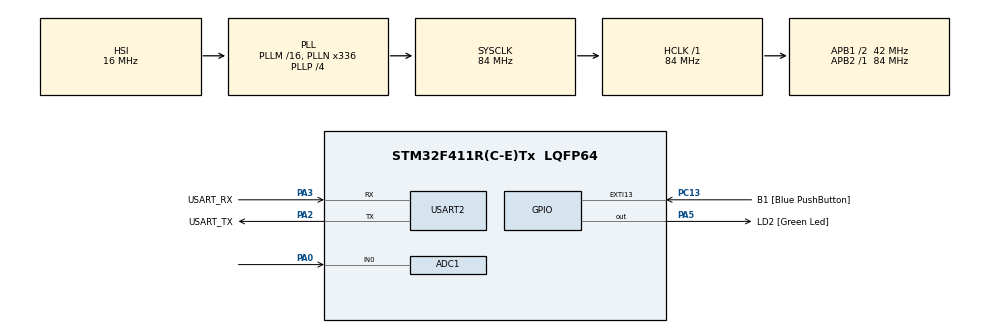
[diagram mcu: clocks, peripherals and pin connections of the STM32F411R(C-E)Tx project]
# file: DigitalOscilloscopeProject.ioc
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ADC1.Channel-0\#ChannelRegularConversion=ADC_CHANNEL_0
ADC1.ExternalTrigConv=ADC_EXTERNALTRIGCONV_T2_TRGO
ADC1.NbrOfConversionFlag=1
ADC1.Rank-0\#ChannelRegularConversion=1
ADC1.SamplingTime-0\#ChannelRegularConversion=ADC_SAMPLETIME_480CYCLES
ADC1.ScanConvMode=DISABLE
ADC1.master=1
Dma.ADC1.0.Direction=DMA_PERIPH_TO_MEMORY
Dma.ADC1.0.FIFOMode=DMA_FIFOMODE_DISABLE
Dma.ADC1.0.Instance=DMA2_Stream0
Dma.ADC1.0.MemDataAlignment=DMA_MDATAALIGN_HALFWORD
Dma.ADC1.0.MemInc=DMA_MINC_ENABLE
Dma.ADC1.0.Mode=DMA_CIRCULAR
Dma.ADC1.0.PeriphDataAlignment=DMA_PDATAALIGN_HALFWORD
Dma.ADC1.0.PeriphInc=DMA_PINC_DISABLE
Dma.ADC1.0.Priority=DMA_PRIORITY_HIGH
Dma.Request0=ADC1
Mcu.Family=STM32F4
Mcu.Name=STM32F411R(C-E)Tx
Mcu.Package=LQFP64
NVIC.ADC_IRQn=true\:0\:0\:false\:false\:true\:true\:true\:true
NVIC.DMA2_Stream0_IRQn=true\:0\:0\:false\:false\:true\:false\:true\:true
NVIC.PriorityGroup=NVIC_PRIORITYGROUP_0
NVIC.TIM2_IRQn=true\:0\:0\:false\:false\:true\:true\:true\:true
PA0-WKUP.Signal=ADCx_IN0
PA13.GPIO_Label=TMS
PA13.Mode=Serial_Wire
PA13.Signal=SYS_JTMS-SWDIO
PA14.GPIO_Label=TCK
PA14.Mode=Serial_Wire
PA14.Signal=SYS_JTCK-SWCLK
PA2.GPIO_Label=USART_TX
PA2.Mode=Asynchronous
PA2.Signal=USART2_TX
PA3.GPIO_Label=USART_RX
PA3.Mode=Asynchronous
PA3.Signal=USART2_RX
PA5.GPIO_Label=LD2 [Green Led]
PA5.Signal=GPIO_Output
PB3.GPIO_Label=SWO
PB3.Signal=SYS_JTDO-SWO
PC13-ANTI_TAMP.GPIO_Label=B1 [Blue PushButton]
PC13-ANTI_TAMP.GPIO_ModeDefaultEXTI=GPIO_MODE_IT_FALLING
PC13-ANTI_TAMP.Signal=GPXTI13
PC14-OSC32_IN.Mode=LSE-External-Oscillator
PC14-OSC32_IN.Signal=RCC_OSC32_IN
PC15-OSC32_OUT.Mode=LSE-External-Oscillator
PC15-OSC32_OUT.Signal=RCC_OSC32_OUT
PH0\ -\ OSC_IN.Mode=HSE-External-Clock-Source
PH0\ -\ OSC_IN.Signal=RCC_OSC_IN
PH1\ -\ OSC_OUT.Mode=HSE-External-Clock-Source
PH1\ -\ OSC_OUT.Signal=RCC_OSC_OUT
ProjectManager.HeapSize=0x200
ProjectManager.StackSize=0x400
ProjectManager.TargetToolchain=STM32CubeIDE
RCC.48MHZClocksFreq_Value=84000000
RCC.AHBFreq_Value=84000000
RCC.APB1CLKDivider=RCC_HCLK_DIV2
RCC.APB1Freq_Value=42000000
RCC.APB1TimFreq_Value=84000000
RCC.APB2Freq_Value=84000000
RCC.APB2TimFreq_Value=84000000
RCC.CortexFreq_Value=84000000
RCC.FLatency-AdvancedSettings=FLASH_LATENCY_2
RCC.HCLKFreq_Value=84000000
RCC.HSE_VALUE=8000000
RCC.HSI_VALUE=16000000
RCC.PLLN=336
RCC.PLLP=RCC_PLLP_DIV4
RCC.SYSCLKFreq_VALUE=84000000
RCC.SYSCLKSource=RCC_SYSCLKSOURCE_PLLCLK
RCC.VCOOutputFreq_Value=336000000
SH.ADCx_IN0.0=ADC1_IN0,IN0
TIM2.Period=99
TIM2.Prescaler=8399
TIM2.TIM_MasterOutputTrigger=TIM_TRGO_UPDATE
USART2.Parity=PARITY_NONE
USART2.VirtualMode=VM_ASYNC
VP_TIM2_VS_ClockSourceINT.Mode=Internal
board=NUCLEO-F411RE

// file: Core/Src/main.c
/* USER CODE BEGIN Header */
/**
  ******************************************************************************
  * @file           : main.c
  * @brief          : Main program body
  ******************************************************************************
  * @attention
  *
  * Copyright (c) 2026 STMicroelectronics.
  * All rights reserved.
  *
  * This software is licensed under terms that can be found in the LICENSE file
  * in the root directory of this software component.
  * If no LICENSE file comes with this software, it is provided AS-IS.
  *
  ******************************************************************************
  */
/* USER CODE END Header */
#include "main.h"

/* USER CODE BEGIN Includes */
#include <stdio.h>
#include <string.h>
#include <math.h>

#define DMA_SAMPLE_COUNT 256
/* USER CODE END Includes */

ADC_HandleTypeDef hadc1;
DMA_HandleTypeDef hdma_adc1;
TIM_HandleTypeDef htim2;
UART_HandleTypeDef huart2;
/* USER CODE BEGIN PV */

volatile uint16_t dma_buffer[DMA_SAMPLE_COUNT];
volatile uint8_t dma_done = 0;

/* USER CODE END PV */

void SystemClock_Config(void);
static void MX_GPIO_Init(void);
static void MX_DMA_Init(void);
static void MX_USART2_UART_Init(void);
static void MX_ADC1_Init(void);
static void MX_TIM2_Init(void);
/* USER CODE BEGIN PFP */
void HAL_ADC_ConvCpltCallback(ADC_HandleTypeDef* hadc)
{
    if (hadc->Instance == ADC1)
    {
        dma_done = 1;   // just flag that a new buffer is ready
        // DO NOT stop DMA
    }
}

/* USER CODE END PFP */

int main(void)
{

  /* MCU Configuration--------------------------------------------------------*/

  /* Reset of all peripherals, Initializes the Flash interface and the Systick. */
  HAL_Init();

  /* Configure the system clock */
  SystemClock_Config();

  /* Initialize all configured peripherals */
  MX_GPIO_Init();
  MX_DMA_Init();
  MX_USART2_UART_Init();
  MX_ADC1_Init();
  MX_TIM2_Init();
  /* USER CODE BEGIN 2 */

  HAL_ADC_Start_DMA(&hadc1, (uint32_t*)dma_buffer, DMA_SAMPLE_COUNT);

  HAL_TIM_Base_Start(&htim2);

  /* USER CODE END 2 */

  /* Infinite loop */
  /* USER CODE BEGIN WHILE */
  while (1)
  {
	    if (dma_done)
	    {
	        dma_done = 0;

	        for (int i = 0; i < DMA_SAMPLE_COUNT; i++)
	        {
	            float voltage = dma_buffer[i] * 3.3f / 4095.0f;

	            char msg[32];
	            snprintf(msg, sizeof(msg), "%.3f\r\n", voltage);

	            HAL_UART_Transmit(&huart2,
	                              (uint8_t*)msg,
	                              strlen(msg),
	                              HAL_MAX_DELAY);
	        }

	        char endmsg[] = "END\r\n";
	        HAL_UART_Transmit(&huart2,
	                          (uint8_t*)endmsg,
	                          strlen(endmsg),
	                          HAL_MAX_DELAY);
	    }
    /* USER CODE END WHILE */

  }
}

void SystemClock_Config(void)
{
  RCC_OscInitTypeDef RCC_OscInitStruct = {0};
  RCC_ClkInitTypeDef RCC_ClkInitStruct = {0};

  /** Configure the main internal regulator output voltage
  */
  __HAL_RCC_PWR_CLK_ENABLE();
  __HAL_PWR_VOLTAGESCALING_CONFIG(PWR_REGULATOR_VOLTAGE_SCALE1);

  /** Initializes the RCC Oscillators according to the specified parameters
  * in the RCC_OscInitTypeDef structure.
  */
  RCC_OscInitStruct.OscillatorType = RCC_OSCILLATORTYPE_HSI;
  RCC_OscInitStruct.HSIState = RCC_HSI_ON;
  RCC_OscInitStruct.HSICalibrationValue = RCC_HSICALIBRATION_DEFAULT;
  RCC_OscInitStruct.PLL.PLLState = RCC_PLL_ON;
  RCC_OscInitStruct.PLL.PLLSource = RCC_PLLSOURCE_HSI;
  RCC_OscInitStruct.PLL.PLLM = 16;
  RCC_OscInitStruct.PLL.PLLN = 336;
  RCC_OscInitStruct.PLL.PLLP = RCC_PLLP_DIV4;
  RCC_OscInitStruct.PLL.PLLQ = 4;
  if (HAL_RCC_OscConfig(&RCC_OscInitStruct) != HAL_OK)
  {
    Error_Handler();
  }

  /** Initializes the CPU, AHB and APB buses clocks
  */
  RCC_ClkInitStruct.ClockType = RCC_CLOCKTYPE_HCLK|RCC_CLOCKTYPE_SYSCLK
                              |RCC_CLOCKTYPE_PCLK1|RCC_CLOCKTYPE_PCLK2;
  RCC_ClkInitStruct.SYSCLKSource = RCC_SYSCLKSOURCE_PLLCLK;
  RCC_ClkInitStruct.AHBCLKDivider = RCC_SYSCLK_DIV1;
  RCC_ClkInitStruct.APB1CLKDivider = RCC_HCLK_DIV2;
  RCC_ClkInitStruct.APB2CLKDivider = RCC_HCLK_DIV1;

  if (HAL_RCC_ClockConfig(&RCC_ClkInitStruct, FLASH_LATENCY_2) != HAL_OK)
  {
    Error_Handler();
  }
}

static void MX_ADC1_Init(void)
{

  ADC_ChannelConfTypeDef sConfig = {0};

  /** Configure the global features of the ADC (Clock, Resolution, Data Alignment and number of conversion)
  */
  hadc1.Instance = ADC1;
  hadc1.Init.ClockPrescaler = ADC_CLOCK_SYNC_PCLK_DIV4;
  hadc1.Init.Resolution = ADC_RESOLUTION_12B;
  hadc1.Init.ScanConvMode = DISABLE;
  hadc1.Init.ContinuousConvMode = DISABLE;
  hadc1.Init.DiscontinuousConvMode = DISABLE;
  hadc1.Init.ExternalTrigConvEdge = ADC_EXTERNALTRIGCONVEDGE_RISING;
  hadc1.Init.ExternalTrigConv = ADC_EXTERNALTRIGCONV_T2_TRGO;
  hadc1.Init.DataAlign = ADC_DATAALIGN_RIGHT;
  hadc1.Init.NbrOfConversion = 1;
  hadc1.Init.DMAContinuousRequests = DISABLE;
  hadc1.Init.EOCSelection = ADC_EOC_SINGLE_CONV;
  if (HAL_ADC_Init(&hadc1) != HAL_OK)
  {
    Error_Handler();
  }

  /** Configure for the selected ADC regular channel its corresponding rank in the sequencer and its sample time.
  */
  sConfig.Channel = ADC_CHANNEL_0;
  sConfig.Rank = 1;
  sConfig.SamplingTime = ADC_SAMPLETIME_480CYCLES;
  if (HAL_ADC_ConfigChannel(&hadc1, &sConfig) != HAL_OK)
  {
    Error_Handler();
  }

}

static void MX_TIM2_Init(void)
{

  TIM_ClockConfigTypeDef sClockSourceConfig = {0};
  TIM_MasterConfigTypeDef sMasterConfig = {0};

  htim2.Instance = TIM2;
  htim2.Init.Prescaler = 8399;
  htim2.Init.CounterMode = TIM_COUNTERMODE_UP;
  htim2.Init.Period = 99;
  htim2.Init.ClockDivision = TIM_CLOCKDIVISION_DIV1;
  htim2.Init.AutoReloadPreload = TIM_AUTORELOAD_PRELOAD_DISABLE;
  if (HAL_TIM_Base_Init(&htim2) != HAL_OK)
  {
    Error_Handler();
  }
  sClockSourceConfig.ClockSource = TIM_CLOCKSOURCE_INTERNAL;
  if (HAL_TIM_ConfigClockSource(&htim2, &sClockSourceConfig) != HAL_OK)
  {
    Error_Handler();
  }
  sMasterConfig.MasterOutputTrigger = TIM_TRGO_UPDATE;
  sMasterConfig.MasterSlaveMode = TIM_MASTERSLAVEMODE_DISABLE;
  if (HAL_TIMEx_MasterConfigSynchronization(&htim2, &sMasterConfig) != HAL_OK)
  {
    Error_Handler();
  }

}

static void MX_USART2_UART_Init(void)
{

  huart2.Instance = USART2;
  huart2.Init.BaudRate = 115200;
  huart2.Init.WordLength = UART_WORDLENGTH_8B;
  huart2.Init.StopBits = UART_STOPBITS_1;
  huart2.Init.Parity = UART_PARITY_NONE;
  huart2.Init.Mode = UART_MODE_TX_RX;
  huart2.Init.HwFlowCtl = UART_HWCONTROL_NONE;
  huart2.Init.OverSampling = UART_OVERSAMPLING_16;
  if (HAL_UART_Init(&huart2) != HAL_OK)
  {
    Error_Handler();
  }

}

static void MX_DMA_Init(void)
{

  /* DMA controller clock enable */
  __HAL_RCC_DMA2_CLK_ENABLE();

  /* DMA interrupt init */
  /* DMA2_Stream0_IRQn interrupt configuration */
  HAL_NVIC_SetPriority(DMA2_Stream0_IRQn, 0, 0);
  HAL_NVIC_EnableIRQ(DMA2_Stream0_IRQn);

}

static void MX_GPIO_Init(void)
{
  GPIO_InitTypeDef GPIO_InitStruct = {0};

  /* GPIO Ports Clock Enable */
  __HAL_RCC_GPIOC_CLK_ENABLE();
  __HAL_RCC_GPIOH_CLK_ENABLE();
  __HAL_RCC_GPIOA_CLK_ENABLE();
  __HAL_RCC_GPIOB_CLK_ENABLE();

  /*Configure GPIO pin Output Level */
  HAL_GPIO_WritePin(LD2_GPIO_Port, LD2_Pin, GPIO_PIN_RESET);

  /*Configure GPIO pin : B1_Pin */
  GPIO_InitStruct.Pin = B1_Pin;
  GPIO_InitStruct.Mode = GPIO_MODE_IT_FALLING;
  GPIO_InitStruct.Pull = GPIO_NOPULL;
  HAL_GPIO_Init(B1_GPIO_Port, &GPIO_InitStruct);

  /*Configure GPIO pin : LD2_Pin */
  GPIO_InitStruct.Pin = LD2_Pin;
  GPIO_InitStruct.Mode = GPIO_MODE_OUTPUT_PP;
  GPIO_InitStruct.Pull = GPIO_NOPULL;
  GPIO_InitStruct.Speed = GPIO_SPEED_FREQ_LOW;
  HAL_GPIO_Init(LD2_GPIO_Port, &GPIO_InitStruct);

}

void Error_Handler(void)
{
  __disable_irq();
  while (1)
  {
  }
}
